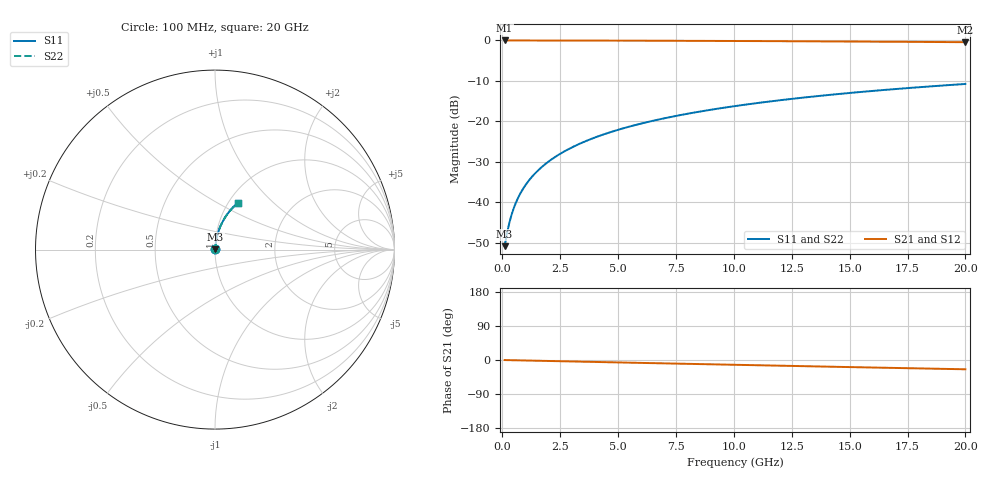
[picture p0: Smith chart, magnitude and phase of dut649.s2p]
! Touchstone file exported from HFSS 2026.1.0
!  File:  C:/ffzhzh/LocalFiles/Ansys_Project_Files/temp_train_BSMRDL_649_1783016926_51716.aedt
!  Generated:  02:30:26 AM Jul  3, 2026
!  Design:  BSMRDL
!  Project:  temp_train_BSMRDL_649_1783016926_51716
! Variables:
!  h_bsmrdl = 3.24um
!  h_ox = 20um
!  h_rdl = 5um
!  h_sub = 80um
!  h_tmrdl = 5um
!  h_tsv = 80um
!  h_via = 3um
!  l_bsmrdl = 286.32um
!  l_sub = 686.32um
!  l_tmrdl = 200um
!  m_sub = 200um
!  pitch = 47.35um
!  r_tsv = 6um
!  s_tmrdl = 10um
!  w_bsmrdl = 14.47um
!  w_sub = 500um
!  w_tmrdl = 12um
!  x_tsv_center1 = 206um
!  x_tsv_center2 = 506.79um
!  x_tsv_center3 = 718.79um
!  x_tsv_center4 = 1019.58um
!  x_tsv_center5 = 1231.58um
!  x_tsv_center6 = 1532.37um
# GHz S MA R 50.000000
! Terminal data exported
! Port[1] = BSM_RDL1_1_T1
! Port[2] = BSM_RDL1_1_T2
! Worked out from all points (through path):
!   200 points, 100 MHz to 20 GHz, reference 50 ohm
!   highest |S21| = -0.02 dB at 100 MHz (marker M1); lowest = -0.4 dB at 20 GHz (marker M2)
!   group delay of S21, straight-line fit = 3.41 ps
!   lowest |S11| = -50.9 dB at 100 MHz (marker M3), VSWR 1.01, Z = 50.2 + j0.166 ohm
!   |S11| at or under -10 dB: start of sweep to end of sweep
!   |S22| runs from -50.9 to -10.8 dB; largest |S21 - S12| = 2.7e-15
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0.1  0.002862 35.3  0.9977 -0.1  0.9977 -0.1  0.002862 35.3
! Gamma 0 0 0 0
! Port Impedance 50 0 50 0
0.2  0.004069 54.1  0.9976 -0.3  0.9976 -0.3  0.004069 54.1
0.3  0.005498 63.5  0.9976 -0.4  0.9976 -0.4  0.005498 63.5
0.4  0.006998 68.8  0.9975 -0.5  0.9975 -0.5  0.006998 68.8
0.5  0.008521 72.1  0.9974 -0.7  0.9974 -0.7  0.008521 72.1
0.6  0.01006 74.4  0.9974 -0.8  0.9974 -0.8  0.01006 74.4
0.8  0.01314 77.3  0.9973 -1.0  0.9973 -1.0  0.01314 77.3
1.1  0.01779 79.7  0.9971 -1.4  0.9971 -1.4  0.01779 79.7
1.5  0.02402 81.3  0.9969 -1.9  0.9969 -1.9  0.02402 81.3
1.8  0.0287 82.0  0.9967 -2.3  0.9967 -2.3  0.0287 82.0
2.1  0.03339 82.3  0.9965 -2.7  0.9965 -2.7  0.03339 82.3
2.7  0.04277 82.5  0.9961 -3.5  0.9961 -3.5  0.04277 82.5
3.5  0.05525 82.2  0.9953 -4.5  0.9953 -4.5  0.05525 82.2
4.2  0.06612 81.7  0.9944 -5.4  0.9944 -5.4  0.06612 81.7
5  0.07848 80.9  0.9933 -6.4  0.9933 -6.4  0.07848 80.9
5.9  0.09227 80.0  0.9918 -7.5  0.9918 -7.5  0.09227 80.0
6.8  0.1059 79.1  0.9902 -8.7  0.9902 -8.7  0.1059 79.1
8.3  0.1284 77.4  0.987 -10.5  0.987 -10.5  0.1284 77.4
10.1  0.1549 75.3  0.9827 -12.8  0.9827 -12.8  0.1549 75.3
13.4  0.2019 71.5  0.9732 -16.8  0.9732 -16.8  0.2019 71.5
16.7  0.2467 67.7  0.9621 -20.7  0.9621 -20.7  0.2467 67.7
20  0.2892 64.0  0.9497 -24.5  0.9497 -24.5  0.2892 64.0
